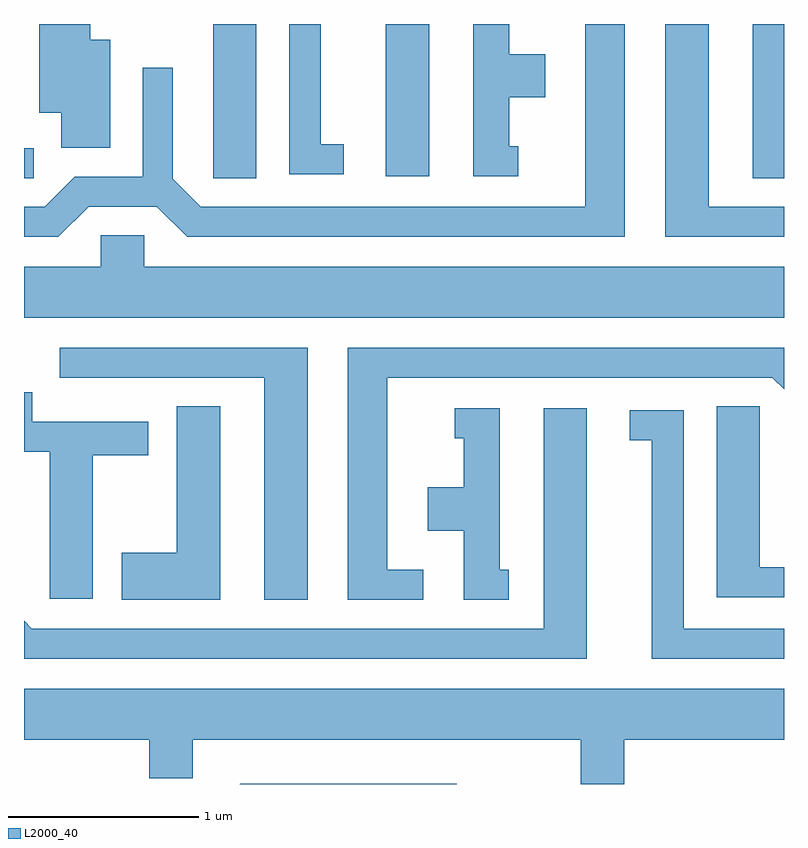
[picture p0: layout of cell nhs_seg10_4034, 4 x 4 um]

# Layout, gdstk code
import gdstk
lib = gdstk.Library(unit=1e-6, precision=1e-09)
def R(c, l, rs):  # rectangles x0, y0, x1, y1
    for r in rs: c.add(gdstk.rectangle(r[:2], r[2:], *l))
def P(c, l, *ps):  # polygons
    for p in ps: c.add(gdstk.Polygon(p, *l))
L2000_40 = (2000, 40)

nhs_seg10_4034 = lib.new_cell('nhs_seg10_4034')
R(nhs_seg10_4034, L2000_40, [(303.611,2165.711,303.663,2165.869), (304.606,2165.711,304.834,2166.522), (307.446,2165.711,307.611,2166.522), (305.516,2165.721,305.744,2166.522)])
P(nhs_seg10_4034, L2000_40, [(303.952,2165.561),(304.309,2165.561),(304.469,2165.401),(306.774,2165.401),(306.774,2166.522),(306.566,2166.522),(306.566,2165.559),(304.542,2165.559),(304.394,2165.707),(304.394,2166.293),(304.236,2166.293),(304.236,2165.719),(303.879,2165.719),(303.719,2165.559),(303.611,2165.559),(303.611,2165.401),(303.792,2165.401)],
  [(304.064,2166.439),(303.959,2166.439),(303.959,2166.522),(303.691,2166.522),(303.691,2166.056),(303.806,2166.056),(303.806,2165.871),(304.064,2165.871)],
  [(306.213,2165.879),(306.164,2165.879),(306.164,2166.136),(306.354,2166.136),(306.354,2166.364),(306.164,2166.364),(306.164,2166.522),(305.976,2166.522),(305.976,2165.721),(306.213,2165.721)],
  [(305.293,2165.889),(305.174,2165.889),(305.174,2166.522),(305.006,2166.522),(305.006,2165.731),(305.293,2165.731)],
  [(307.611,2165.559),(307.214,2165.559),(307.214,2166.522),(306.986,2166.522),(306.986,2165.401),(307.611,2165.401)],
  [(307.611,2165.244),(304.244,2165.244),(304.244,2165.409),(304.016,2165.409),(304.016,2165.244),(303.611,2165.244),(303.611,2164.976),(307.611,2164.976)],
  [(305.713,2163.649),(305.524,2163.649),(305.524,2164.661),(307.549,2164.661),(307.611,2164.599),(307.611,2164.819),(305.316,2164.819),(305.316,2163.491),(305.713,2163.491)],
  [(305.104,2164.819),(303.798,2164.819),(303.798,2164.661),(304.876,2164.661),(304.876,2163.491),(305.104,2163.491)],
  [(303.974,2164.251),(304.264,2164.251),(304.264,2164.429),(303.654,2164.429),(303.654,2164.583),(303.611,2164.583),(303.611,2164.271),(303.746,2164.271),(303.746,2163.496),(303.974,2163.496)],
  [(304.644,2164.509),(304.416,2164.509),(304.416,2163.739),(304.126,2163.739),(304.126,2163.491),(304.644,2163.491)],
  [(307.611,2163.664),(307.484,2163.664),(307.484,2164.509),(307.256,2164.509),(307.256,2163.506),(307.611,2163.506)],
  [(306.574,2164.499),(306.346,2164.499),(306.346,2163.339),(303.652,2163.339),(303.611,2163.38),(303.611,2163.181),(306.574,2163.181)],
  [(306.163,2163.649),(306.114,2163.649),(306.114,2164.499),(305.878,2164.499),(305.878,2164.341),(305.926,2164.341),(305.926,2164.084),(305.736,2164.084),(305.736,2163.856),(305.926,2163.856),(305.926,2163.491),(306.163,2163.491)],
  [(307.611,2163.339),(307.084,2163.339),(307.084,2164.489),(306.798,2164.489),(306.798,2164.331),(306.916,2164.331),(306.916,2163.181),(307.611,2163.181)],
  [(306.769,2162.756),(307.611,2162.756),(307.611,2163.024),(303.611,2163.024),(303.611,2162.756),(304.271,2162.756),(304.271,2162.551),(304.499,2162.551),(304.499,2162.756),(306.541,2162.756),(306.541,2162.522),(306.769,2162.522)],
  [(305.888,2162.524),(304.749,2162.524),(304.747,2162.522),(305.888,2162.522)])

lib.write_gds('nhs_seg10_4034.gds')
